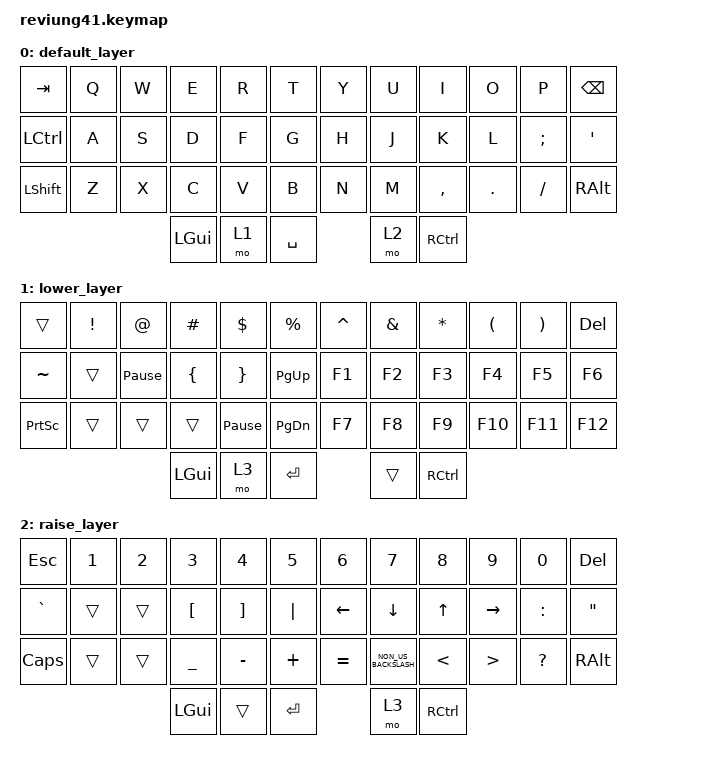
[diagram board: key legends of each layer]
/*
 * Copyright (c) 2020 The ZMK Contributors
 *
 * SPDX-License-Identifier: MIT
 */

#include <behaviors.dtsi>
#include <dt-bindings/zmk/keys.h>
#include <dt-bindings/zmk/bt.h>
#include <dt-bindings/zmk/rgb.h>

/ {
        keymap {
                compatible = "zmk,keymap";

                default_layer {
// -------------------------------------------------------------------------------------
// |  TAB |  Q  |  W  |  E  |  R  |  T  |   |  Y  |  U   |  I  |  O  |  P  |  RET |
// | CTRL |  A  |  S  |  D  |  F  |  G  |   |  H  |  J   |  K  |  L  |  ;  |  '  |
// | SHFT |  Z  |  X  |  C  |  V  |  B  |   |  N  |  M   |  ,  |  .  |  /  |  ALT |
//                         | LGUI | MO1 | SPC | RET | MO2 |
                        bindings = <
   &kp TAB   &kp Q &kp W &kp E &kp R &kp T   &kp Y &kp U  &kp I     &kp O   &kp P    &kp BSPC
   &kp LCTRL &kp A &kp S &kp D &kp F &kp G   &kp H &kp J  &kp K     &kp L   &kp SEMI &kp SQT
   &kp LSHFT &kp Z &kp X &kp C &kp V &kp B   &kp N &kp M  &kp COMMA &kp DOT &kp SLASH &kp RALT
                        &kp LGUI  &mo 1 &kp SPACE &mo 2 &kp RCTRL 
                        >;
                };

                lower_layer {
// ------------------------------------------------------------------------------------
// | ESC  |  !  |  UP |  #  |  $  |  % |  |  ^  |  &  |  *  |  (  |  )  |   DEL |
// | CAPS | LFT | DWN | RGT |     | [  |  |  ]  |     |     |     |     |    \    |
// |      |  @  |     |     |     |    |  |     |     |     |     |     |   ALT   |
//                       |     |     | PLAY |    |     |
                        bindings = <
   &trans &kp EXCL &kp AT &kp HASH &kp DLLR &kp PERCENT      &kp CARET &kp AMPS &kp STAR &kp LPAR  &kp RPAR  &kp DEL
   &kp TILDE &trans &kp PAUSE_BREAK &kp LBRC &kp RBRC &kp PG_UP       &kp F1  &kp F2 &kp F3 &kp F4 &kp F5 &kp F6
   &kp PSCRN &trans   &trans    &trans &kp PAUSE_BREAK &kp PG_DN        &kp F7  &kp F8  &kp F9 &kp F10 &kp F11 &kp F12
                        &kp LGUI      &mo 3       &kp ENTER        &trans	&kp RCTRL
                        >;
                };

                raise_layer {
// ----------------------------------------------------------------------------
// |  ~ |  1  |  2  |  3  |  4      |  5      |   |  6  |  7  |  8  |  9  |  0  |  `  |
// |    |     |     |     |         |         |   | F1  | F2  | F3  | F4  | F5  | F6  |
// |    |     |     |     | RGB_MOD | RGB_TOG |   | F7  | F8  | F9  | F10 | F11 | F12 |
//                               |     |     | RET |    |     |
                        bindings = <
   &kp ESC  &kp N1    &kp N2    &kp N3    &kp N4    &kp N5        &kp N6    &kp N7    &kp N8    &kp N9    &kp N0    &kp DEL
   &kp GRAVE  &trans &trans &kp LEFT_BRACKET  &kp RIGHT_BRACKET  &kp PIPE      &kp LEFT    &kp DOWN    &kp UP    &kp RIGHT    &kp COLON    &kp DQT
   &kp CAPS  &trans   &trans  &kp UNDER  &kp MINUS &kp PLUS       &kp EQUAL    &kp NON_US_BACKSLASH    &kp LESS_THAN    &kp GREATER_THAN   &kp QUESTION   &kp RALT
                                &kp LGUI      &trans       &kp ENTER        &mo 3      &kp RCTRL
                        >;
                };
        };
};
